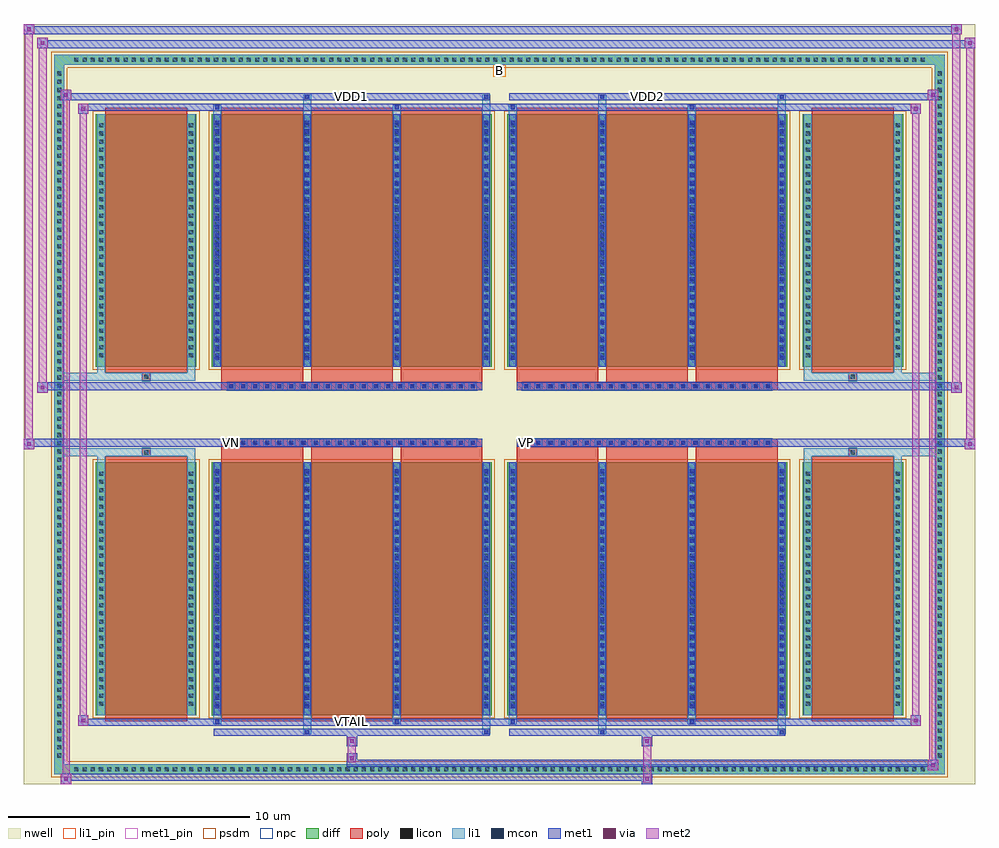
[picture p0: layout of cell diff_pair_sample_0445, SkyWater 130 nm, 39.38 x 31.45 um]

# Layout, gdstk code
import gdstk
lib = gdstk.Library(unit=1e-6, precision=5e-09)
def R(c, l, rs):  # rectangles x0, y0, x1, y1
    for r in rs: c.add(gdstk.rectangle(r[:2], r[2:], *l))
def A(c, l, x, y, w, h, nx, ny, dx, dy):  # array of equal rectangles
    R(c, l, [(x+i*dx, y+j*dy, x+i*dx+w, y+j*dy+h) for i in range(nx) for j in range(ny)])
def P(c, l, *ps):  # polygons
    for p in ps: c.add(gdstk.Polygon(p, *l))
nwell = (64, 20)
diff = (65, 20)
poly = (66, 20)
licon = (66, 44)
li1_pin = (67, 16)
li1 = (67, 20)
mcon = (67, 44)
met1_pin = (68, 16)
met1 = (68, 20)
via = (68, 44)
met2 = (69, 20)
psdm = (94, 20)
npc = (95, 20)

diff_pair_sample_0445 = lib.new_cell('diff_pair_sample_0445')
R(diff_pair_sample_0445, nwell, [(-19.69,-15.29,19.69,16.16), (-17.01,-13.48,-0.01,-0.8), (0.01,-13.48,17.01,-0.8), (-17.01,0.8,-0.01,13.48), (0.01,0.8,17.01,13.48)])
A(diff_pair_sample_0445, diff, -17.715, -14.89, 0.41, 0.41, 104, 2, 0.34, 29.37)
A(diff_pair_sample_0445, diff, -18.42, -14.315, 0.41, 0.41, 1, 84, 0, 0.34)
A(diff_pair_sample_0445, diff, 18.01, -14.315, 0.41, 0.41, 1, 84, 0, 0.34)
R(diff_pair_sample_0445, diff, [(-17.715,-14.89,17.715,-14.48), (-18.42,-14.315,-18.01,14.315), (18.01,-14.315,18.42,14.315), (-16.7,-12.435,-12.54,-1.985), (-11.9,-12.435,-0.32,-1.985), (0.32,-12.435,11.9,-1.985), (12.54,-12.435,16.7,-1.985), (-16.7,1.985,-12.54,12.435), (-11.9,1.985,-0.32,12.435), (0.32,1.985,11.9,12.435), (12.54,1.985,16.7,12.435), (-17.715,14.48,17.715,14.89)])
P(diff_pair_sample_0445, diff, [(18.42,14.89),(-18.42,14.89),(-18.42,-14.48),(-18.01,-14.48),(-18.01,14.48),(18.01,14.48),(18.01,-14.48),(-18.01,-14.48),(-18.42,-14.48),(-18.42,-14.89),(18.42,-14.89)])
A(diff_pair_sample_0445, poly, -11.51, -12.685, 3.38, 10.95, 3, 2, 3.71, 14.42)
A(diff_pair_sample_0445, poly, 0.71, -12.685, 3.38, 10.95, 3, 2, 3.71, 14.42)
A(diff_pair_sample_0445, poly, -11.51, -1.735, 3.38, 0.405, 3, 2, 3.71, 3.065)
A(diff_pair_sample_0445, poly, 0.71, -1.735, 3.38, 0.405, 3, 2, 3.71, 3.065)
A(diff_pair_sample_0445, poly, -11.275, -1.33, 0.33, 0.33, 21, 2, 0.5, 2.33)
A(diff_pair_sample_0445, poly, 0.945, -1.33, 0.33, 0.33, 21, 2, 0.5, 2.33)
R(diff_pair_sample_0445, poly, [(-16.31,-12.685,-12.93,-1.735), (12.93,-12.685,16.31,-1.735), (-14.785,-1.735,-14.455,-1.405), (-14.785,-1.735,-14.455,-1.405), (14.455,-1.735,14.785,-1.405), (14.455,-1.735,14.785,-1.405), (-11.51,-1.33,-0.71,-1), (0.71,-1.33,11.51,-1), (-11.51,1,-0.71,1.33), (0.71,1,11.51,1.33), (-14.785,1.405,-14.455,1.735), (-14.785,1.405,-14.455,1.735), (14.455,1.405,14.785,1.735), (14.455,1.405,14.785,1.735), (-16.31,1.735,-12.93,12.685), (12.93,1.735,16.31,12.685)])
A(diff_pair_sample_0445, licon, -17.595, -14.77, 0.17, 0.17, 104, 2, 0.34, 29.37)
A(diff_pair_sample_0445, licon, -18.3, -14.195, 0.17, 0.17, 1, 84, 0, 0.34)
A(diff_pair_sample_0445, licon, 18.13, -14.195, 0.17, 0.17, 1, 84, 0, 0.34)
A(diff_pair_sample_0445, licon, -16.56, -12.055, 0.17, 0.17, 1, 29, 0, 0.34)
A(diff_pair_sample_0445, licon, -12.85, -12.055, 0.17, 0.17, 1, 29, 0, 0.34)
A(diff_pair_sample_0445, licon, -11.76, -12.055, 0.17, 0.17, 4, 29, 3.71, 0.34)
A(diff_pair_sample_0445, licon, 0.46, -12.055, 0.17, 0.17, 4, 29, 3.71, 0.34)
A(diff_pair_sample_0445, licon, 12.68, -12.055, 0.17, 0.17, 1, 29, 0, 0.34)
A(diff_pair_sample_0445, licon, 16.39, -12.055, 0.17, 0.17, 1, 29, 0, 0.34)
A(diff_pair_sample_0445, licon, -11.195, -1.25, 0.17, 0.17, 21, 2, 0.5, 2.33)
A(diff_pair_sample_0445, licon, 1.025, -1.25, 0.17, 0.17, 21, 2, 0.5, 2.33)
A(diff_pair_sample_0445, licon, -16.56, 2.365, 0.17, 0.17, 1, 29, 0, 0.34)
A(diff_pair_sample_0445, licon, -12.85, 2.365, 0.17, 0.17, 1, 29, 0, 0.34)
A(diff_pair_sample_0445, licon, -11.76, 2.365, 0.17, 0.17, 4, 29, 3.71, 0.34)
A(diff_pair_sample_0445, licon, 0.46, 2.365, 0.17, 0.17, 4, 29, 3.71, 0.34)
A(diff_pair_sample_0445, licon, 12.68, 2.365, 0.17, 0.17, 1, 29, 0, 0.34)
A(diff_pair_sample_0445, licon, 16.39, 2.365, 0.17, 0.17, 1, 29, 0, 0.34)
R(diff_pair_sample_0445, licon, [(-14.705,-1.655,-14.535,-1.485), (14.535,-1.655,14.705,-1.485), (-14.705,1.485,-14.535,1.655), (14.535,1.485,14.705,1.655)])
R(diff_pair_sample_0445, li1_pin, [(-0.25,13.98,0.25,14.48)])
A(diff_pair_sample_0445, li1, -17.675, -14.85, 0.33, 0.33, 104, 2, 0.34, 29.37)
A(diff_pair_sample_0445, li1, -18.38, -14.275, 0.33, 0.33, 1, 84, 0, 0.34)
A(diff_pair_sample_0445, li1, 18.05, -14.275, 0.33, 0.33, 1, 84, 0, 0.34)
A(diff_pair_sample_0445, li1, -11.84, -12.435, 0.33, 10.45, 4, 2, 3.71, 14.42)
A(diff_pair_sample_0445, li1, 0.38, -12.435, 0.33, 10.45, 4, 2, 3.71, 14.42)
A(diff_pair_sample_0445, li1, -11.76, -12.155, 0.17, 0.17, 4, 28, 3.71, 0.36)
A(diff_pair_sample_0445, li1, -11.76, -12.155, 0.17, 9.89, 4, 2, 3.71, 14.42)
A(diff_pair_sample_0445, li1, 0.46, -12.155, 0.17, 0.17, 4, 28, 3.71, 0.36)
A(diff_pair_sample_0445, li1, 0.46, -12.155, 0.17, 9.89, 4, 2, 3.71, 14.42)
A(diff_pair_sample_0445, li1, -16.64, -12.135, 0.33, 0.33, 1, 29, 0, 0.34)
A(diff_pair_sample_0445, li1, -12.93, -12.135, 0.33, 0.33, 1, 29, 0, 0.34)
A(diff_pair_sample_0445, li1, -11.84, -12.135, 0.33, 0.33, 4, 29, 3.71, 0.34)
A(diff_pair_sample_0445, li1, 0.38, -12.135, 0.33, 0.33, 4, 29, 3.71, 0.34)
A(diff_pair_sample_0445, li1, 12.6, -12.135, 0.33, 0.33, 1, 29, 0, 0.34)
A(diff_pair_sample_0445, li1, 16.31, -12.135, 0.33, 0.33, 1, 29, 0, 0.34)
A(diff_pair_sample_0445, li1, -11.275, -1.33, 0.33, 0.33, 21, 2, 0.5, 2.33)
A(diff_pair_sample_0445, li1, 0.945, -1.33, 0.33, 0.33, 21, 2, 0.5, 2.33)
A(diff_pair_sample_0445, li1, -11.76, 2.265, 0.17, 0.17, 4, 28, 3.71, 0.36)
A(diff_pair_sample_0445, li1, 0.46, 2.265, 0.17, 0.17, 4, 28, 3.71, 0.36)
A(diff_pair_sample_0445, li1, -16.64, 2.285, 0.33, 0.33, 1, 29, 0, 0.34)
A(diff_pair_sample_0445, li1, -12.93, 2.285, 0.33, 0.33, 1, 29, 0, 0.34)
A(diff_pair_sample_0445, li1, -11.84, 2.285, 0.33, 0.33, 4, 29, 3.71, 0.34)
A(diff_pair_sample_0445, li1, 0.38, 2.285, 0.33, 0.33, 4, 29, 3.71, 0.34)
A(diff_pair_sample_0445, li1, 12.6, 2.285, 0.33, 0.33, 1, 29, 0, 0.34)
A(diff_pair_sample_0445, li1, 16.31, 2.285, 0.33, 0.33, 1, 29, 0, 0.34)
R(diff_pair_sample_0445, li1, [(-18.42,-14.89,-18.01,-14.48), (-18.42,-14.89,-18.01,-14.48), (-18.01,-14.89,18.01,-14.48), (18.01,-14.89,18.42,-14.48), (18.01,-14.89,18.42,-14.48), (-18.42,-14.48,-18.01,14.48), (18.01,-14.48,18.42,14.48), (-8.13,-13.24,-7.8,-12.435), (-8.05,-13.24,-7.88,-13.07), (-0.71,-13.24,-0.38,-12.435), (-0.63,-13.24,-0.46,-13.07), (4.09,-13.24,4.42,-12.435), (4.17,-13.24,4.34,-13.07), (11.51,-13.24,11.84,-12.435), (11.59,-13.24,11.76,-13.07), (-11.84,-12.81,-11.51,-12.435), (-11.76,-12.81,-11.59,-12.64), (-4.42,-12.81,-4.09,-12.435), (-4.34,-12.81,-4.17,-12.64), (0.38,-12.81,0.71,-12.435), (0.46,-12.81,0.63,-12.64), (7.8,-12.81,8.13,-12.435), (7.88,-12.81,8.05,-12.64), (-16.64,-12.435,-16.31,-1.985), (-12.93,-12.435,-12.6,-1.985), (12.6,-12.435,12.93,-1.985), (16.31,-12.435,16.64,-1.985), (-16.64,-1.985,-16.31,-1.405), (-12.93,-1.985,-12.6,-1.405), (12.6,-1.985,12.93,-1.405), (16.31,-1.985,16.64,-1.405), (-18.42,-1.735,-14.785,-1.405), (-16.64,-1.735,-14.785,-1.405), (-14.785,-1.735,-14.455,-1.405), (-14.455,-1.735,-12.6,-1.405), (12.6,-1.735,14.455,-1.405), (14.455,-1.735,14.785,-1.405), (14.455,-1.735,18.42,-1.405), (14.785,-1.735,16.64,-1.405), (-18.42,1.405,-14.785,1.735), (-16.64,1.405,-14.785,1.735), (-16.64,1.405,-16.31,1.985), (-14.785,1.405,-14.455,1.735), (-14.455,1.405,-12.6,1.735), (-12.93,1.405,-12.6,1.985), (12.6,1.405,14.455,1.735), (12.6,1.405,12.93,1.985), (14.455,1.405,14.785,1.735), (14.455,1.405,18.42,1.735), (14.785,1.405,16.64,1.735), (16.31,1.405,16.64,1.985), (-16.64,1.985,-16.31,12.435), (-12.93,1.985,-12.6,12.435), (12.6,1.985,12.93,12.435), (16.31,1.985,16.64,12.435), (-11.84,12.435,-11.51,12.81), (-8.13,12.435,-7.8,13.24), (-4.42,12.435,-4.09,12.81), (-0.71,12.435,-0.38,13.24), (0.38,12.435,0.71,12.81), (4.09,12.435,4.42,13.24), (7.8,12.435,8.13,12.81), (11.51,12.435,11.84,13.24), (-11.76,12.64,-11.59,12.81), (-4.34,12.64,-4.17,12.81), (0.46,12.64,0.63,12.81), (7.88,12.64,8.05,12.81), (-8.05,13.07,-7.88,13.24), (-0.63,13.07,-0.46,13.24), (4.17,13.07,4.34,13.24), (11.59,13.07,11.76,13.24), (-18.42,14.48,-18.01,14.89), (-18.42,14.48,-18.01,14.89), (-18.01,14.48,18.01,14.89), (18.01,14.48,18.42,14.89), (18.01,14.48,18.42,14.89)])
A(diff_pair_sample_0445, mcon, -11.76, -12.155, 0.17, 0.17, 4, 28, 3.71, 0.36)
A(diff_pair_sample_0445, mcon, 0.46, -12.155, 0.17, 0.17, 4, 28, 3.71, 0.36)
A(diff_pair_sample_0445, mcon, -11.195, -1.25, 0.17, 0.17, 21, 2, 0.5, 2.33)
A(diff_pair_sample_0445, mcon, 1.025, -1.25, 0.17, 0.17, 21, 2, 0.5, 2.33)
A(diff_pair_sample_0445, mcon, -11.76, 2.265, 0.17, 0.17, 4, 28, 3.71, 0.36)
A(diff_pair_sample_0445, mcon, 0.46, 2.265, 0.17, 0.17, 4, 28, 3.71, 0.36)
R(diff_pair_sample_0445, mcon, [(-8.05,-13.24,-7.88,-13.07), (-0.63,-13.24,-0.46,-13.07), (4.17,-13.24,4.34,-13.07), (11.59,-13.24,11.76,-13.07), (-11.76,-12.81,-11.59,-12.64), (-4.34,-12.81,-4.17,-12.64), (0.46,-12.81,0.63,-12.64), (7.88,-12.81,8.05,-12.64), (-11.76,12.64,-11.59,12.81), (-4.34,12.64,-4.17,12.81), (0.46,12.64,0.63,12.81), (7.88,12.64,8.05,12.81), (-8.05,13.07,-7.88,13.24), (-0.63,13.07,-0.46,13.24), (4.17,13.07,4.34,13.24), (11.59,13.07,11.76,13.24)])
R(diff_pair_sample_0445, met1_pin, [(-6.245,-12.85,-5.975,-12.58), (-11.245,-1.29,-10.975,-1.02), (0.975,-1.29,1.245,-1.02), (-6.245,13.03,-5.975,13.3), (5.975,13.03,6.245,13.3)])
A(diff_pair_sample_0445, met1, -11.82, -12.435, 0.29, 10.45, 4, 2, 3.71, 14.42)
A(diff_pair_sample_0445, met1, 0.4, -12.435, 0.29, 10.45, 4, 2, 3.71, 14.42)
A(diff_pair_sample_0445, met1, -11.82, -12.215, 0.29, 0.29, 4, 28, 3.71, 0.36)
A(diff_pair_sample_0445, met1, 0.4, -12.215, 0.29, 0.29, 4, 28, 3.71, 0.36)
A(diff_pair_sample_0445, met1, -11.255, -1.31, 0.29, 0.29, 21, 2, 0.5, 2.33)
A(diff_pair_sample_0445, met1, 0.965, -1.31, 0.29, 0.29, 21, 2, 0.5, 2.33)
A(diff_pair_sample_0445, met1, -11.82, 2.205, 0.29, 0.29, 4, 28, 3.71, 0.36)
A(diff_pair_sample_0445, met1, 0.4, 2.205, 0.29, 0.29, 4, 28, 3.71, 0.36)
R(diff_pair_sample_0445, met1, [(-18.15,-15.29,-17.72,-14.86), (5.895,-15.29,6.325,-14.86), (-18.15,-15.15,6.325,-14.86), (17.72,-14.72,18.15,-14.29), (-6.325,-14.58,18.15,-14.29), (-6.325,-14.44,-5.895,-14.01), (-6.325,-13.73,-5.895,-13.3), (5.895,-13.73,6.325,-13.3), (-11.82,-13.3,-0.4,-13.01), (-8.11,-13.3,-7.82,-13.01), (-0.69,-13.3,-0.4,-13.01), (0.4,-13.3,11.82,-13.01), (4.11,-13.3,4.4,-13.01), (11.53,-13.3,11.82,-13.01), (-17.44,-12.87,-17.01,-12.44), (-17.44,-12.87,-11.82,-12.58), (-11.82,-12.87,-11.53,-12.58), (-11.82,-12.87,-0.4,-12.58), (-4.4,-12.87,-4.11,-12.58), (-0.4,-12.87,0.4,-12.58), (0.4,-12.87,0.69,-12.58), (0.4,-12.87,11.82,-12.58), (7.82,-12.87,8.11,-12.58), (11.82,-12.87,17.44,-12.58), (17.01,-12.87,17.44,-12.44), (-19.69,-1.43,-19.26,-1), (19.26,-1.43,19.69,-1), (-19.69,-1.33,-0.71,-1), (-11.51,-1.33,-0.71,-1), (0.71,-1.33,11.51,-1), (0.71,-1.33,19.69,-1), (-19.12,0.9,-18.69,1.33), (18.69,0.9,19.12,1.33), (-19.12,1,-11.51,1.33), (-11.51,1,-0.71,1.33), (0.71,1,11.51,1.33), (11.51,1,19.12,1.33), (-17.44,12.44,-17.01,12.87), (17.01,12.44,17.44,12.87), (-17.44,12.58,-11.82,12.87), (-11.82,12.58,-11.53,12.87), (-11.82,12.58,-0.4,12.87), (-4.4,12.58,-4.11,12.87), (-0.4,12.58,0.4,12.87), (0.4,12.58,0.69,12.87), (0.4,12.58,11.82,12.87), (7.82,12.58,8.11,12.87), (11.82,12.58,17.44,12.87), (-18.15,13.01,-17.72,13.44), (-18.15,13.01,-11.82,13.3), (-11.82,13.01,-0.4,13.3), (-8.11,13.01,-7.82,13.3), (-0.69,13.01,-0.4,13.3), (0.4,13.01,11.82,13.3), (4.11,13.01,4.4,13.3), (11.53,13.01,11.82,13.3), (11.82,13.01,18.15,13.3), (17.72,13.01,18.15,13.44), (-19.12,15.16,-18.69,15.59), (-19.12,15.16,-17.01,15.49), (-17.01,15.16,17.01,15.49), (17.01,15.16,19.69,15.49), (19.26,15.16,19.69,15.59), (-19.69,15.73,-19.26,16.16), (-19.69,15.73,-17.01,16.06), (-17.01,15.73,17.01,16.06), (17.01,15.73,19.12,16.06), (18.69,15.73,19.12,16.16)])
R(diff_pair_sample_0445, via, [(-18.01,-15.15,-17.86,-15), (6.035,-15.15,6.185,-15), (17.86,-14.58,18.01,-14.43), (-6.185,-14.3,-6.035,-14.15), (-6.185,-13.59,-6.035,-13.44), (6.035,-13.59,6.185,-13.44), (-17.3,-12.73,-17.15,-12.58), (17.15,-12.73,17.3,-12.58), (-19.55,-1.29,-19.4,-1.14), (19.4,-1.29,19.55,-1.14), (-18.98,1.04,-18.83,1.19), (18.83,1.04,18.98,1.19), (-17.3,12.58,-17.15,12.73), (17.15,12.58,17.3,12.73), (-18.01,13.15,-17.86,13.3), (17.86,13.15,18.01,13.3), (-18.98,15.3,-18.83,15.45), (19.4,15.3,19.55,15.45), (-19.55,15.87,-19.4,16.02), (18.83,15.87,18.98,16.02)])
R(diff_pair_sample_0445, met2, [(-18.15,-15.29,-17.72,-14.86), (-18.08,-15.29,-17.79,13.44), (-17.79,-15.29,-17.72,-14.86), (-18.1,-15.24,-17.77,-14.91), (5.945,-15.24,6.275,-14.91), (5.945,-14.91,6.275,-13.68), (17.72,-14.72,18.15,-14.29), (17.79,-14.72,18.08,13.44), (18.08,-14.72,18.15,-14.29), (17.77,-14.67,18.1,-14.34), (-6.275,-14.39,-5.945,-14.06), (-6.275,-14.06,-5.945,-13.68), (-6.275,-13.68,-5.945,-13.35), (5.945,-13.68,6.275,-13.35), (-17.44,-12.87,-17.01,-12.44), (-17.37,-12.87,-17.08,12.87), (-17.08,-12.87,-17.01,-12.44), (17.01,-12.87,17.44,-12.44), (17.08,-12.87,17.37,12.87), (17.37,-12.87,17.44,-12.44), (-17.39,-12.82,-17.06,-12.49), (17.06,-12.82,17.39,-12.49), (-19.69,-1.43,-19.26,-1), (-19.64,-1.43,-19.31,16.16), (-19.31,-1.43,-19.26,-1), (19.26,-1.43,19.69,-1), (19.31,-1.43,19.64,15.59), (19.64,-1.43,19.69,-1), (-19.64,-1.38,-19.31,-1.05), (19.31,-1.38,19.64,-1.05), (-19.12,0.9,-18.69,1.33), (-19.07,0.9,-18.74,15.59), (-18.74,0.9,-18.69,1.33), (18.69,0.9,19.12,1.33), (18.74,0.9,19.07,16.16), (19.07,0.9,19.12,1.33), (-19.07,0.95,-18.74,1.28), (18.74,0.95,19.07,1.28), (-17.44,12.44,-17.01,12.87), (-17.08,12.44,-17.01,12.87), (17.01,12.44,17.44,12.87), (17.37,12.44,17.44,12.87), (-17.39,12.49,-17.06,12.82), (17.06,12.49,17.39,12.82), (-18.15,13.01,-17.72,13.44), (-17.79,13.01,-17.72,13.44), (17.72,13.01,18.15,13.44), (18.08,13.01,18.15,13.44), (-18.1,13.06,-17.77,13.39), (17.77,13.06,18.1,13.39), (-19.12,15.16,-18.69,15.59), (-18.74,15.16,-18.69,15.59), (19.26,15.16,19.69,15.59), (19.64,15.16,19.69,15.59), (-19.07,15.21,-18.74,15.54), (19.31,15.21,19.64,15.54), (-19.69,15.73,-19.26,16.16), (-19.31,15.73,-19.26,16.16), (18.69,15.73,19.12,16.16), (19.07,15.73,19.12,16.16), (-19.64,15.78,-19.31,16.11), (18.74,15.78,19.07,16.11)])
R(diff_pair_sample_0445, psdm, [(-16.83,-12.565,-12.41,-1.855), (-12.03,-12.565,-0.19,-1.855), (0.19,-12.565,12.03,-1.855), (12.41,-12.565,16.83,-1.855), (-16.83,1.855,-12.41,12.565), (-12.03,1.855,-0.19,12.565), (0.19,1.855,12.03,12.565), (12.41,1.855,16.83,12.565)])
P(diff_pair_sample_0445, psdm, [(18.55,15.02),(-18.55,15.02),(-18.55,-14.35),(-17.88,-14.35),(-17.88,14.35),(17.88,14.35),(17.88,-14.35),(-17.88,-14.35),(-18.55,-14.35),(-18.55,-15.02),(18.55,-15.02)])
A(diff_pair_sample_0445, npc, -11.295, -1.35, 0.37, 0.37, 21, 2, 0.5, 2.33)
A(diff_pair_sample_0445, npc, 0.925, -1.35, 0.37, 0.37, 21, 2, 0.5, 2.33)
R(diff_pair_sample_0445, npc, [(-14.805,-1.755,-14.435,-1.385), (14.435,-1.755,14.805,-1.385), (-11.295,-1.35,-10.425,-0.98), (-11.295,-1.35,-10.425,-0.98), (-10.795,-1.35,-9.925,-0.98), (-10.795,-1.35,-9.925,-0.98), (-10.295,-1.35,-9.425,-0.98), (-10.295,-1.35,-9.425,-0.98), (-9.795,-1.35,-8.925,-0.98), (-9.795,-1.35,-8.925,-0.98), (-9.295,-1.35,-8.425,-0.98), (-9.295,-1.35,-8.425,-0.98), (-8.795,-1.35,-7.925,-0.98), (-8.795,-1.35,-7.925,-0.98), (-8.295,-1.35,-7.425,-0.98), (-8.295,-1.35,-7.425,-0.98), (-7.795,-1.35,-6.925,-0.98), (-7.795,-1.35,-6.925,-0.98), (-7.295,-1.35,-6.425,-0.98), (-7.295,-1.35,-6.425,-0.98), (-6.795,-1.35,-5.925,-0.98), (-6.795,-1.35,-5.925,-0.98), (-6.295,-1.35,-5.425,-0.98), (-6.295,-1.35,-5.425,-0.98), (-5.795,-1.35,-4.925,-0.98), (-5.795,-1.35,-4.925,-0.98), (-5.295,-1.35,-4.425,-0.98), (-5.295,-1.35,-4.425,-0.98), (-4.795,-1.35,-3.925,-0.98), (-4.795,-1.35,-3.925,-0.98), (-4.295,-1.35,-3.425,-0.98), (-4.295,-1.35,-3.425,-0.98), (-3.795,-1.35,-2.925,-0.98), (-3.795,-1.35,-2.925,-0.98), (-3.295,-1.35,-2.425,-0.98), (-3.295,-1.35,-2.425,-0.98), (-2.795,-1.35,-1.925,-0.98), (-2.795,-1.35,-1.925,-0.98), (-2.295,-1.35,-1.425,-0.98), (-2.295,-1.35,-1.425,-0.98), (-1.795,-1.35,-0.925,-0.98), (-1.795,-1.35,-0.925,-0.98), (0.925,-1.35,1.795,-0.98), (0.925,-1.35,1.795,-0.98), (1.425,-1.35,2.295,-0.98), (1.425,-1.35,2.295,-0.98), (1.925,-1.35,2.795,-0.98), (1.925,-1.35,2.795,-0.98), (2.425,-1.35,3.295,-0.98), (2.425,-1.35,3.295,-0.98), (2.925,-1.35,3.795,-0.98), (2.925,-1.35,3.795,-0.98), (3.425,-1.35,4.295,-0.98), (3.425,-1.35,4.295,-0.98), (3.925,-1.35,4.795,-0.98), (3.925,-1.35,4.795,-0.98), (4.425,-1.35,5.295,-0.98), (4.425,-1.35,5.295,-0.98), (4.925,-1.35,5.795,-0.98), (4.925,-1.35,5.795,-0.98), (5.425,-1.35,6.295,-0.98), (5.425,-1.35,6.295,-0.98), (5.925,-1.35,6.795,-0.98), (5.925,-1.35,6.795,-0.98), (6.425,-1.35,7.295,-0.98), (6.425,-1.35,7.295,-0.98), (6.925,-1.35,7.795,-0.98), (6.925,-1.35,7.795,-0.98), (7.425,-1.35,8.295,-0.98), (7.425,-1.35,8.295,-0.98), (7.925,-1.35,8.795,-0.98), (7.925,-1.35,8.795,-0.98), (8.425,-1.35,9.295,-0.98), (8.425,-1.35,9.295,-0.98), (8.925,-1.35,9.795,-0.98), (8.925,-1.35,9.795,-0.98), (9.425,-1.35,10.295,-0.98), (9.425,-1.35,10.295,-0.98), (9.925,-1.35,10.795,-0.98), (9.925,-1.35,10.795,-0.98), (10.425,-1.35,11.295,-0.98), (10.425,-1.35,11.295,-0.98), (-11.295,0.98,-10.425,1.35), (-11.295,0.98,-10.425,1.35), (-10.795,0.98,-9.925,1.35), (-10.795,0.98,-9.925,1.35), (-10.295,0.98,-9.425,1.35), (-10.295,0.98,-9.425,1.35), (-9.795,0.98,-8.925,1.35), (-9.795,0.98,-8.925,1.35), (-9.295,0.98,-8.425,1.35), (-9.295,0.98,-8.425,1.35), (-8.795,0.98,-7.925,1.35), (-8.795,0.98,-7.925,1.35), (-8.295,0.98,-7.425,1.35), (-8.295,0.98,-7.425,1.35), (-7.795,0.98,-6.925,1.35), (-7.795,0.98,-6.925,1.35), (-7.295,0.98,-6.425,1.35), (-7.295,0.98,-6.425,1.35), (-6.795,0.98,-5.925,1.35), (-6.795,0.98,-5.925,1.35), (-6.295,0.98,-5.425,1.35), (-6.295,0.98,-5.425,1.35), (-5.795,0.98,-4.925,1.35), (-5.795,0.98,-4.925,1.35), (-5.295,0.98,-4.425,1.35), (-5.295,0.98,-4.425,1.35), (-4.795,0.98,-3.925,1.35), (-4.795,0.98,-3.925,1.35), (-4.295,0.98,-3.425,1.35), (-4.295,0.98,-3.425,1.35), (-3.795,0.98,-2.925,1.35), (-3.795,0.98,-2.925,1.35), (-3.295,0.98,-2.425,1.35), (-3.295,0.98,-2.425,1.35), (-2.795,0.98,-1.925,1.35), (-2.795,0.98,-1.925,1.35), (-2.295,0.98,-1.425,1.35), (-2.295,0.98,-1.425,1.35), (-1.795,0.98,-0.925,1.35), (-1.795,0.98,-0.925,1.35), (0.925,0.98,1.795,1.35), (0.925,0.98,1.795,1.35), (1.425,0.98,2.295,1.35), (1.425,0.98,2.295,1.35), (1.925,0.98,2.795,1.35), (1.925,0.98,2.795,1.35), (2.425,0.98,3.295,1.35), (2.425,0.98,3.295,1.35), (2.925,0.98,3.795,1.35), (2.925,0.98,3.795,1.35), (3.425,0.98,4.295,1.35), (3.425,0.98,4.295,1.35), (3.925,0.98,4.795,1.35), (3.925,0.98,4.795,1.35), (4.425,0.98,5.295,1.35), (4.425,0.98,5.295,1.35), (4.925,0.98,5.795,1.35), (4.925,0.98,5.795,1.35), (5.425,0.98,6.295,1.35), (5.425,0.98,6.295,1.35), (5.925,0.98,6.795,1.35), (5.925,0.98,6.795,1.35), (6.425,0.98,7.295,1.35), (6.425,0.98,7.295,1.35), (6.925,0.98,7.795,1.35), (6.925,0.98,7.795,1.35), (7.425,0.98,8.295,1.35), (7.425,0.98,8.295,1.35), (7.925,0.98,8.795,1.35), (7.925,0.98,8.795,1.35), (8.425,0.98,9.295,1.35), (8.425,0.98,9.295,1.35), (8.925,0.98,9.795,1.35), (8.925,0.98,9.795,1.35), (9.425,0.98,10.295,1.35), (9.425,0.98,10.295,1.35), (9.925,0.98,10.795,1.35), (9.925,0.98,10.795,1.35), (10.425,0.98,11.295,1.35), (10.425,0.98,11.295,1.35), (-14.805,1.385,-14.435,1.755), (14.435,1.385,14.805,1.755)])
diff_pair_sample_0445.add(gdstk.Label('VTAIL', (-6.11,-12.715), layer=68, texttype=5))
diff_pair_sample_0445.add(gdstk.Label('VN', (-11.11,-1.155), layer=68, texttype=5))
diff_pair_sample_0445.add(gdstk.Label('VP', (1.11,-1.155), layer=68, texttype=5))
diff_pair_sample_0445.add(gdstk.Label('B', (0,14.23), layer=67, texttype=5))
diff_pair_sample_0445.add(gdstk.Label('VDD2', (6.11,13.165), layer=68, texttype=5))
diff_pair_sample_0445.add(gdstk.Label('VDD1', (-6.11,13.165), layer=68, texttype=5))

lib.write_gds('diff_pair_sample_0445.gds')
